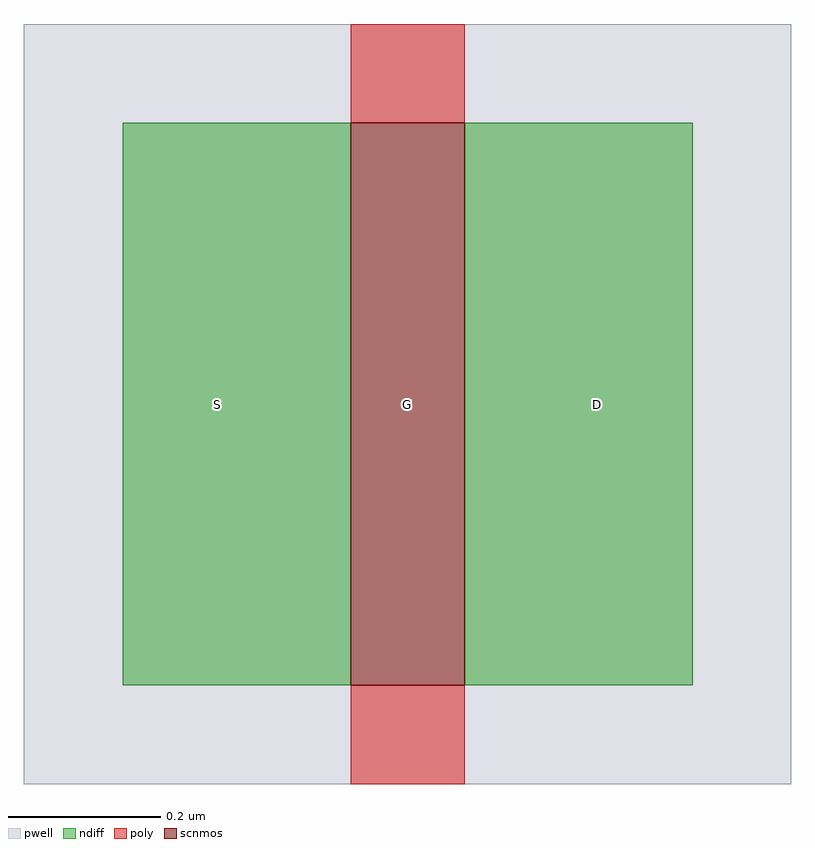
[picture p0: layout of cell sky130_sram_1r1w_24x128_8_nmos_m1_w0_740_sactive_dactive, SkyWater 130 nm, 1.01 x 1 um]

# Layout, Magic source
magic
tech sky130B
magscale 1 2
<< pwell >>
rect -26 -26 176 174
<< scnmos >>
rect 60 0 90 148
<< ndiff >>
rect 0 0 60 148
rect 90 0 150 148
<< poly >>
rect 60 148 90 174
rect 60 -26 90 0
<< labels >>
rlabel poly s 75 74 75 74 4 G
port 1 nsew
rlabel mvpsubdiff s 25 74 25 74 4 S
rlabel mvpsubdiff s 125 74 125 74 4 D
<< properties >>
string FIXED_BBOX -25 -26 175 174
<< end >>
